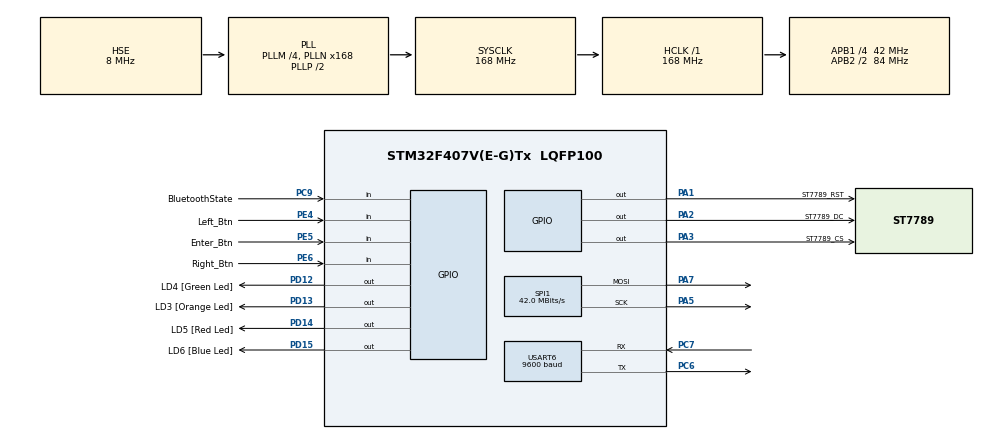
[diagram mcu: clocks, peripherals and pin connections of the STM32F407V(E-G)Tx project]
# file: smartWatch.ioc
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Dma.Request0=SPI1_TX
Dma.SPI1_TX.0.Direction=DMA_MEMORY_TO_PERIPH
Dma.SPI1_TX.0.FIFOMode=DMA_FIFOMODE_DISABLE
Dma.SPI1_TX.0.Instance=DMA2_Stream3
Dma.SPI1_TX.0.MemDataAlignment=DMA_MDATAALIGN_BYTE
Dma.SPI1_TX.0.MemInc=DMA_MINC_ENABLE
Dma.SPI1_TX.0.Mode=DMA_NORMAL
Dma.SPI1_TX.0.PeriphDataAlignment=DMA_PDATAALIGN_BYTE
Dma.SPI1_TX.0.PeriphInc=DMA_PINC_DISABLE
Dma.SPI1_TX.0.Priority=DMA_PRIORITY_LOW
FREERTOS.Tasks01=guiTAsk,47,15360,StartguiTAsk,Default,NULL,Dynamic,NULL,NULL;controllerTask,39,1024,StartcontrollerTask,Default,NULL,Dynamic,NULL,NULL;bluetoothTask,38,2560,StartbluetoothTask,Default,NULL,Dynamic,NULL,NULL;blinkTask,38,128,StartblinkTask,Default,NULL,Dynamic,NULL,NULL
FREERTOS.configTOTAL_HEAP_SIZE=81920
Mcu.Family=STM32F4
Mcu.Name=STM32F407V(E-G)Tx
Mcu.Package=LQFP100
NVIC.DMA2_Stream3_IRQn=true\:5\:0\:false\:false\:true\:true\:false\:true
NVIC.PriorityGroup=NVIC_PRIORITYGROUP_4
NVIC.TIM1_UP_TIM10_IRQn=true\:0\:0\:false\:false\:true\:false\:false\:true
NVIC.TIM2_IRQn=true\:5\:0\:false\:false\:true\:true\:true\:true
NVIC.TIM3_IRQn=true\:5\:0\:false\:false\:true\:true\:true\:true
NVIC.TIM4_IRQn=true\:5\:0\:false\:false\:true\:true\:true\:true
NVIC.TimeBase=TIM1_UP_TIM10_IRQn
NVIC.TimeBaseIP=TIM1
PA1.GPIO_Label=ST7789_RST
PA1.GPIO_Speed=GPIO_SPEED_FREQ_VERY_HIGH
PA1.Signal=GPIO_Output
PA13.Mode=Serial_Wire
PA13.Signal=SYS_JTMS-SWDIO
PA14.Mode=Serial_Wire
PA14.Signal=SYS_JTCK-SWCLK
PA2.GPIO_Label=ST7789_DC
PA2.GPIO_Speed=GPIO_SPEED_FREQ_VERY_HIGH
PA2.Signal=GPIO_Output
PA3.GPIO_Label=ST7789_CS
PA3.GPIO_Speed=GPIO_SPEED_FREQ_VERY_HIGH
PA3.Signal=GPIO_Output
PA5.Mode=TX_Only_Simplex_Unidirect_Master
PA5.Signal=SPI1_SCK
PA7.Mode=TX_Only_Simplex_Unidirect_Master
PA7.Signal=SPI1_MOSI
PC6.Mode=Asynchronous
PC6.Signal=USART6_TX
PC7.Mode=Asynchronous
PC7.Signal=USART6_RX
PC9.GPIO_Label=BluetoothState
PC9.GPIO_PuPd=GPIO_PULLUP
PC9.Signal=GPIO_Input
PD12.GPIO_Label=LD4 [Green Led]
PD12.Signal=GPIO_Output
PD13.GPIO_Label=LD3 [Orange Led]
PD13.Signal=GPIO_Output
PD14.GPIO_Label=LD5 [Red Led]
PD14.Signal=GPIO_Output
PD15.GPIO_Label=LD6 [Blue Led]
PD15.Signal=GPIO_Output
PE4.GPIO_Label=Left_Btn
PE4.GPIO_PuPd=GPIO_PULLUP
PE4.Signal=GPIO_Input
PE5.GPIO_Label=Enter_Btn
PE5.GPIO_PuPd=GPIO_PULLUP
PE5.Signal=GPIO_Input
PE6.GPIO_Label=Right_Btn
PE6.GPIO_PuPd=GPIO_PULLUP
PE6.Signal=GPIO_Input
PH0-OSC_IN.Mode=HSE-External-Oscillator
PH0-OSC_IN.Signal=RCC_OSC_IN
PH1-OSC_OUT.Mode=HSE-External-Oscillator
PH1-OSC_OUT.Signal=RCC_OSC_OUT
ProjectManager.HeapSize=0x200
ProjectManager.StackSize=0x400
ProjectManager.TargetToolchain=STM32CubeIDE
RCC.48MHZClocksFreq_Value=84000000
RCC.AHBFreq_Value=168000000
RCC.APB1CLKDivider=RCC_HCLK_DIV4
RCC.APB1Freq_Value=42000000
RCC.APB1TimFreq_Value=84000000
RCC.APB2CLKDivider=RCC_HCLK_DIV2
RCC.APB2Freq_Value=84000000
RCC.APB2TimFreq_Value=168000000
RCC.CortexFreq_Value=168000000
RCC.HCLKFreq_Value=168000000
RCC.HSE_VALUE=8000000
RCC.HSI_VALUE=16000000
RCC.LSE_VALUE=32768
RCC.PLLM=4
RCC.PLLN=168
RCC.PLLSourceVirtual=RCC_PLLSOURCE_HSE
RCC.RCC_RTC_Clock_Source=RCC_RTCCLKSOURCE_LSI
RCC.RCC_RTC_Clock_SourceVirtual=RCC_RTCCLKSOURCE_LSE
RCC.RCC_RTC_Clock_Source_FROM_HSE=RCC_RTCCLKSOURCE_HSE_DIV25
RCC.SYSCLKFreq_VALUE=168000000
RCC.SYSCLKSource=RCC_SYSCLKSOURCE_PLLCLK
RCC.VCOOutputFreq_Value=336000000
RTC.AsynchPrediv=127
RTC.Format=RTC_FORMAT_BIN
RTC.SynchPrediv=249
SPI1.BaudRatePrescaler=SPI_BAUDRATEPRESCALER_2
SPI1.CLKPhase=SPI_PHASE_2EDGE
SPI1.CLKPolarity=SPI_POLARITY_HIGH
SPI1.CalculateBaudRate=42.0 MBits/s
SPI1.DataSize=SPI_DATASIZE_8BIT
SPI1.Direction=SPI_DIRECTION_2LINES
SPI1.Mode=SPI_MODE_MASTER
SPI1.VirtualType=VM_MASTER
TIM2.Period=1000
TIM2.Prescaler=84
TIM3.Prescaler=84
TIM4.Period=1000
TIM4.Prescaler=84
USART6.BaudRate=9600
USART6.VirtualMode=VM_ASYNC
VP_FREERTOS_VS_CMSIS_V2.Mode=CMSIS_V2
VP_RTC_VS_RTC_Activate.Mode=RTC_Enabled
VP_RTC_VS_RTC_Calendar.Mode=RTC_Calendar
VP_SYS_VS_tim1.Mode=TIM1
VP_TIM2_VS_ClockSourceINT.Mode=Internal
VP_TIM3_VS_ClockSourceINT.Mode=Internal
VP_TIM4_VS_ClockSourceINT.Mode=Internal
board=custom

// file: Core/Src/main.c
/* USER CODE BEGIN Header */
/**
  ******************************************************************************
  * @file           : main.c
  * @brief          : Main program body
  ******************************************************************************
  * @attention
  *
  * <h2><center>&copy; Copyright (c) 2020 STMicroelectronics.
  * All rights reserved.</center></h2>
  *
  * This software component is licensed by ST under BSD 3-Clause license,
  * the "License"; You may not use this file except in compliance with the
  * License. You may obtain a copy of the License at:
  *                        opensource.org/licenses/BSD-3-Clause
  *
  ******************************************************************************
  */
/* USER CODE END Header */
#include "main.h"
#include "cmsis_os.h"

/* USER CODE BEGIN Includes */
#include "tosTft.h"
#include "tOSbaga.h"
/* USER CODE END Includes */

RTC_HandleTypeDef hrtc;

SPI_HandleTypeDef hspi1;
DMA_HandleTypeDef hdma_spi1_tx;

TIM_HandleTypeDef htim2;
TIM_HandleTypeDef htim3;
TIM_HandleTypeDef htim4;

UART_HandleTypeDef huart6;

/* Definitions for guiTAsk */
osThreadId_t guiTAskHandle;
const osThreadAttr_t guiTAsk_attributes = {
  .name = "guiTAsk",
  .priority = (osPriority_t) osPriorityHigh7,
  .stack_size = 15360 * 4
};
/* Definitions for controllerTask */
osThreadId_t controllerTaskHandle;
const osThreadAttr_t controllerTask_attributes = {
  .name = "controllerTask",
  .priority = (osPriority_t) osPriorityAboveNormal7,
  .stack_size = 1024 * 4
};
/* Definitions for bluetoothTask */
osThreadId_t bluetoothTaskHandle;
const osThreadAttr_t bluetoothTask_attributes = {
  .name = "bluetoothTask",
  .priority = (osPriority_t) osPriorityAboveNormal6,
  .stack_size = 2560 * 4
};
/* Definitions for blinkTask */
osThreadId_t blinkTaskHandle;
const osThreadAttr_t blinkTask_attributes = {
  .name = "blinkTask",
  .priority = (osPriority_t) osPriorityAboveNormal6,
  .stack_size = 128 * 4
};
/* USER CODE BEGIN PV */
RTC_TimeTypeDef sTime = {0};
RTC_DateTypeDef sDate = {0};
//RTC_DateTypeDef sDate;
/* USER CODE END PV */

void SystemClock_Config(void);
static void MX_GPIO_Init(void);
static void MX_DMA_Init(void);
static void MX_RTC_Init(void);
static void MX_SPI1_Init(void);
static void MX_TIM4_Init(void);
static void MX_USART6_UART_Init(void);
static void MX_TIM3_Init(void);
static void MX_TIM2_Init(void);
void StartguiTAsk(void *argument);
void StartcontrollerTask(void *argument);
void StartbluetoothTask(void *argument);
void StartblinkTask(void *argument);

int main(void)
{

  /* MCU Configuration--------------------------------------------------------*/

  /* Reset of all peripherals, Initializes the Flash interface and the Systick. */
  HAL_Init();

  /* Configure the system clock */
  SystemClock_Config();

  /* Initialize all configured peripherals */
  MX_GPIO_Init();
  MX_DMA_Init();
  MX_RTC_Init();
  MX_SPI1_Init();
  MX_TIM4_Init();
  MX_USART6_UART_Init();
  MX_TIM3_Init();
  MX_TIM2_Init();
  /* USER CODE BEGIN 2 */
  HAL_GPIO_TogglePin(LD6_GPIO_Port, LD6_Pin);
  //tos_Flash_Init();

	//tos_RTC_init(&hrtc);
  /* USER CODE END 2 */

  /* Init scheduler */
  osKernelInitialize();

  /* Create the thread(s) */
  /* creation of guiTAsk */
  guiTAskHandle = osThreadNew(StartguiTAsk, NULL, &guiTAsk_attributes);

  /* creation of controllerTask */
  controllerTaskHandle = osThreadNew(StartcontrollerTask, NULL, &controllerTask_attributes);

  /* creation of bluetoothTask */
  bluetoothTaskHandle = osThreadNew(StartbluetoothTask, NULL, &bluetoothTask_attributes);

  /* creation of blinkTask */
  blinkTaskHandle = osThreadNew(StartblinkTask, NULL, &blinkTask_attributes);

  /* Start scheduler */
  osKernelStart();

  /* We should never get here as control is now taken by the scheduler */
  /* Infinite loop */
  while (1)
  {

  }
}

void SystemClock_Config(void)
{
  RCC_OscInitTypeDef RCC_OscInitStruct = {0};
  RCC_ClkInitTypeDef RCC_ClkInitStruct = {0};
  RCC_PeriphCLKInitTypeDef PeriphClkInitStruct = {0};

  /** Configure the main internal regulator output voltage
  */
  __HAL_RCC_PWR_CLK_ENABLE();
  __HAL_PWR_VOLTAGESCALING_CONFIG(PWR_REGULATOR_VOLTAGE_SCALE1);
  /** Initializes the RCC Oscillators according to the specified parameters
  * in the RCC_OscInitTypeDef structure.
  */
  RCC_OscInitStruct.OscillatorType = RCC_OSCILLATORTYPE_LSI|RCC_OSCILLATORTYPE_HSE;
  RCC_OscInitStruct.HSEState = RCC_HSE_ON;
  RCC_OscInitStruct.LSIState = RCC_LSI_ON;
  RCC_OscInitStruct.PLL.PLLState = RCC_PLL_ON;
  RCC_OscInitStruct.PLL.PLLSource = RCC_PLLSOURCE_HSE;
  RCC_OscInitStruct.PLL.PLLM = 4;
  RCC_OscInitStruct.PLL.PLLN = 168;
  RCC_OscInitStruct.PLL.PLLP = RCC_PLLP_DIV2;
  RCC_OscInitStruct.PLL.PLLQ = 4;
  if (HAL_RCC_OscConfig(&RCC_OscInitStruct) != HAL_OK)
  {
    Error_Handler();
  }
  /** Initializes the CPU, AHB and APB buses clocks
  */
  RCC_ClkInitStruct.ClockType = RCC_CLOCKTYPE_HCLK|RCC_CLOCKTYPE_SYSCLK
                              |RCC_CLOCKTYPE_PCLK1|RCC_CLOCKTYPE_PCLK2;
  RCC_ClkInitStruct.SYSCLKSource = RCC_SYSCLKSOURCE_PLLCLK;
  RCC_ClkInitStruct.AHBCLKDivider = RCC_SYSCLK_DIV1;
  RCC_ClkInitStruct.APB1CLKDivider = RCC_HCLK_DIV4;
  RCC_ClkInitStruct.APB2CLKDivider = RCC_HCLK_DIV2;

  if (HAL_RCC_ClockConfig(&RCC_ClkInitStruct, FLASH_LATENCY_5) != HAL_OK)
  {
    Error_Handler();
  }
  PeriphClkInitStruct.PeriphClockSelection = RCC_PERIPHCLK_RTC;
  PeriphClkInitStruct.RTCClockSelection = RCC_RTCCLKSOURCE_LSI;
  if (HAL_RCCEx_PeriphCLKConfig(&PeriphClkInitStruct) != HAL_OK)
  {
    Error_Handler();
  }
}

static void MX_RTC_Init(void)
{

  RTC_TimeTypeDef sTime = {0};
  RTC_DateTypeDef sDate = {0};

  /** Initialize RTC Only
  */
  hrtc.Instance = RTC;
  hrtc.Init.HourFormat = RTC_HOURFORMAT_24;
  hrtc.Init.AsynchPrediv = 127;
  hrtc.Init.SynchPrediv = 249;
  hrtc.Init.OutPut = RTC_OUTPUT_DISABLE;
  hrtc.Init.OutPutPolarity = RTC_OUTPUT_POLARITY_HIGH;
  hrtc.Init.OutPutType = RTC_OUTPUT_TYPE_OPENDRAIN;
  if (HAL_RTC_Init(&hrtc) != HAL_OK)
  {
    Error_Handler();
  }

  /** Initialize RTC and set the Time and Date
  */
  sTime.Hours = 0;
  sTime.Minutes = 0;
  sTime.Seconds = 0;
  sTime.DayLightSaving = RTC_DAYLIGHTSAVING_NONE;
  sTime.StoreOperation = RTC_STOREOPERATION_RESET;
  if (HAL_RTC_SetTime(&hrtc, &sTime, RTC_FORMAT_BIN) != HAL_OK)
  {
    Error_Handler();
  }
  sDate.WeekDay = RTC_WEEKDAY_MONDAY;
  sDate.Month = RTC_MONTH_JANUARY;
  sDate.Date = 1;
  sDate.Year = 0;

  if (HAL_RTC_SetDate(&hrtc, &sDate, RTC_FORMAT_BIN) != HAL_OK)
  {
    Error_Handler();
  }

}

static void MX_SPI1_Init(void)
{

  /* SPI1 parameter configuration*/
  hspi1.Instance = SPI1;
  hspi1.Init.Mode = SPI_MODE_MASTER;
  hspi1.Init.Direction = SPI_DIRECTION_2LINES;
  hspi1.Init.DataSize = SPI_DATASIZE_8BIT;
  hspi1.Init.CLKPolarity = SPI_POLARITY_HIGH;
  hspi1.Init.CLKPhase = SPI_PHASE_2EDGE;
  hspi1.Init.NSS = SPI_NSS_SOFT;
  hspi1.Init.BaudRatePrescaler = SPI_BAUDRATEPRESCALER_2;
  hspi1.Init.FirstBit = SPI_FIRSTBIT_MSB;
  hspi1.Init.TIMode = SPI_TIMODE_DISABLE;
  hspi1.Init.CRCCalculation = SPI_CRCCALCULATION_DISABLE;
  hspi1.Init.CRCPolynomial = 10;
  if (HAL_SPI_Init(&hspi1) != HAL_OK)
  {
    Error_Handler();
  }

}

static void MX_TIM2_Init(void)
{

  TIM_ClockConfigTypeDef sClockSourceConfig = {0};
  TIM_MasterConfigTypeDef sMasterConfig = {0};

  htim2.Instance = TIM2;
  htim2.Init.Prescaler = 84;
  htim2.Init.CounterMode = TIM_COUNTERMODE_UP;
  htim2.Init.Period = 1000;
  htim2.Init.ClockDivision = TIM_CLOCKDIVISION_DIV1;
  htim2.Init.AutoReloadPreload = TIM_AUTORELOAD_PRELOAD_DISABLE;
  if (HAL_TIM_Base_Init(&htim2) != HAL_OK)
  {
    Error_Handler();
  }
  sClockSourceConfig.ClockSource = TIM_CLOCKSOURCE_INTERNAL;
  if (HAL_TIM_ConfigClockSource(&htim2, &sClockSourceConfig) != HAL_OK)
  {
    Error_Handler();
  }
  sMasterConfig.MasterOutputTrigger = TIM_TRGO_RESET;
  sMasterConfig.MasterSlaveMode = TIM_MASTERSLAVEMODE_DISABLE;
  if (HAL_TIMEx_MasterConfigSynchronization(&htim2, &sMasterConfig) != HAL_OK)
  {
    Error_Handler();
  }

}

static void MX_TIM3_Init(void)
{

  TIM_ClockConfigTypeDef sClockSourceConfig = {0};
  TIM_MasterConfigTypeDef sMasterConfig = {0};

  htim3.Instance = TIM3;
  htim3.Init.Prescaler = 84;
  htim3.Init.CounterMode = TIM_COUNTERMODE_UP;
  htim3.Init.Period = 65535;
  htim3.Init.ClockDivision = TIM_CLOCKDIVISION_DIV1;
  htim3.Init.AutoReloadPreload = TIM_AUTORELOAD_PRELOAD_DISABLE;
  if (HAL_TIM_Base_Init(&htim3) != HAL_OK)
  {
    Error_Handler();
  }
  sClockSourceConfig.ClockSource = TIM_CLOCKSOURCE_INTERNAL;
  if (HAL_TIM_ConfigClockSource(&htim3, &sClockSourceConfig) != HAL_OK)
  {
    Error_Handler();
  }
  sMasterConfig.MasterOutputTrigger = TIM_TRGO_RESET;
  sMasterConfig.MasterSlaveMode = TIM_MASTERSLAVEMODE_DISABLE;
  if (HAL_TIMEx_MasterConfigSynchronization(&htim3, &sMasterConfig) != HAL_OK)
  {
    Error_Handler();
  }

}

static void MX_TIM4_Init(void)
{

  TIM_ClockConfigTypeDef sClockSourceConfig = {0};
  TIM_MasterConfigTypeDef sMasterConfig = {0};

  htim4.Instance = TIM4;
  htim4.Init.Prescaler = 84;
  htim4.Init.CounterMode = TIM_COUNTERMODE_UP;
  htim4.Init.Period = 1000;
  htim4.Init.ClockDivision = TIM_CLOCKDIVISION_DIV1;
  htim4.Init.AutoReloadPreload = TIM_AUTORELOAD_PRELOAD_DISABLE;
  if (HAL_TIM_Base_Init(&htim4) != HAL_OK)
  {
    Error_Handler();
  }
  sClockSourceConfig.ClockSource = TIM_CLOCKSOURCE_INTERNAL;
  if (HAL_TIM_ConfigClockSource(&htim4, &sClockSourceConfig) != HAL_OK)
  {
    Error_Handler();
  }
  sMasterConfig.MasterOutputTrigger = TIM_TRGO_RESET;
  sMasterConfig.MasterSlaveMode = TIM_MASTERSLAVEMODE_DISABLE;
  if (HAL_TIMEx_MasterConfigSynchronization(&htim4, &sMasterConfig) != HAL_OK)
  {
    Error_Handler();
  }

}

static void MX_USART6_UART_Init(void)
{

  huart6.Instance = USART6;
  huart6.Init.BaudRate = 9600;
  huart6.Init.WordLength = UART_WORDLENGTH_8B;
  huart6.Init.StopBits = UART_STOPBITS_1;
  huart6.Init.Parity = UART_PARITY_NONE;
  huart6.Init.Mode = UART_MODE_TX_RX;
  huart6.Init.HwFlowCtl = UART_HWCONTROL_NONE;
  huart6.Init.OverSampling = UART_OVERSAMPLING_16;
  if (HAL_UART_Init(&huart6) != HAL_OK)
  {
    Error_Handler();
  }

}

static void MX_DMA_Init(void)
{

  /* DMA controller clock enable */
  __HAL_RCC_DMA2_CLK_ENABLE();

  /* DMA interrupt init */
  /* DMA2_Stream3_IRQn interrupt configuration */
  HAL_NVIC_SetPriority(DMA2_Stream3_IRQn, 5, 0);
  HAL_NVIC_EnableIRQ(DMA2_Stream3_IRQn);

}

static void MX_GPIO_Init(void)
{
  GPIO_InitTypeDef GPIO_InitStruct = {0};

  /* GPIO Ports Clock Enable */
  __HAL_RCC_GPIOE_CLK_ENABLE();
  __HAL_RCC_GPIOH_CLK_ENABLE();
  __HAL_RCC_GPIOA_CLK_ENABLE();
  __HAL_RCC_GPIOD_CLK_ENABLE();
  __HAL_RCC_GPIOC_CLK_ENABLE();

  /*Configure GPIO pin Output Level */
  HAL_GPIO_WritePin(GPIOA, ST7789_RST_Pin|ST7789_DC_Pin|ST7789_CS_Pin, GPIO_PIN_RESET);

  /*Configure GPIO pin Output Level */
  HAL_GPIO_WritePin(GPIOD, LD4_Pin|LD3_Pin|LD5_Pin|LD6_Pin, GPIO_PIN_RESET);

  /*Configure GPIO pins : Left_Btn_Pin Enter_Btn_Pin Right_Btn_Pin */
  GPIO_InitStruct.Pin = Left_Btn_Pin|Enter_Btn_Pin|Right_Btn_Pin;
  GPIO_InitStruct.Mode = GPIO_MODE_INPUT;
  GPIO_InitStruct.Pull = GPIO_PULLUP;
  HAL_GPIO_Init(GPIOE, &GPIO_InitStruct);

  /*Configure GPIO pins : ST7789_RST_Pin ST7789_DC_Pin ST7789_CS_Pin */
  GPIO_InitStruct.Pin = ST7789_RST_Pin|ST7789_DC_Pin|ST7789_CS_Pin;
  GPIO_InitStruct.Mode = GPIO_MODE_OUTPUT_PP;
  GPIO_InitStruct.Pull = GPIO_NOPULL;
  GPIO_InitStruct.Speed = GPIO_SPEED_FREQ_VERY_HIGH;
  HAL_GPIO_Init(GPIOA, &GPIO_InitStruct);

  /*Configure GPIO pins : LD4_Pin LD3_Pin LD5_Pin LD6_Pin */
  GPIO_InitStruct.Pin = LD4_Pin|LD3_Pin|LD5_Pin|LD6_Pin;
  GPIO_InitStruct.Mode = GPIO_MODE_OUTPUT_PP;
  GPIO_InitStruct.Pull = GPIO_NOPULL;
  GPIO_InitStruct.Speed = GPIO_SPEED_FREQ_LOW;
  HAL_GPIO_Init(GPIOD, &GPIO_InitStruct);

  /*Configure GPIO pin : BluetoothState_Pin */
  GPIO_InitStruct.Pin = BluetoothState_Pin;
  GPIO_InitStruct.Mode = GPIO_MODE_INPUT;
  GPIO_InitStruct.Pull = GPIO_PULLUP;
  HAL_GPIO_Init(BluetoothState_GPIO_Port, &GPIO_InitStruct);

}

void StartguiTAsk(void *argument)
{
  /* USER CODE BEGIN 5 */
	tos_Tft_init();
	tos_Get_Rtc(&hrtc);
	tos_Screen_Init();
	ST7789_UnSelect();
	/* Infinite loop */
	for(;;)
	{
	  lv_task_handler();
	  lv_tick_inc(1);
	  osDelay(1);
	}
  /* USER CODE END 5 */
}

void StartcontrollerTask(void *argument)
{
  /* USER CODE BEGIN StartcontrollerTask */
	/* Infinite loop */
	for(;;)
	{
	  tos_Screen_Variables_Getter(tos_Get_Current_Screen());
	  tos_ScreenController();
	  osDelay(5);
	}
  /* USER CODE END StartcontrollerTask */
}

void StartbluetoothTask(void *argument)
{
  /* USER CODE BEGIN StartbluetoothTask */
	tos_Bluetooth_NotificationItemInit();
	/* Infinite loop */
	for(;;)
	{
		tos_BluetoothReceiverAndTransmitter(&hrtc);
		tos_BluetoothGetStatusVAl(tos_BluetoothGetEnableVal(),tos_Get_Current_Screen());
		osDelay(1);
	}
  /* USER CODE END StartbluetoothTask */
}

void StartblinkTask(void *argument)
{
  /* USER CODE BEGIN StartblinkTask */
	/* Infinite loop */
	for(;;)
	{
		HAL_GPIO_TogglePin(LD6_GPIO_Port, LD6_Pin);
		osDelay(500);
	}
  /* USER CODE END StartblinkTask */
}

 /**
  * @brief  Period elapsed callback in non blocking mode
  * @note   This function is called  when TIM1 interrupt took place, inside
  * HAL_TIM_IRQHandler(). It makes a direct call to HAL_IncTick() to increment
  * a global variable "uwTick" used as application time base.
  * @param  htim : TIM handle
  * @retval None
  */
void HAL_TIM_PeriodElapsedCallback(TIM_HandleTypeDef *htim)
{
  if (htim->Instance == TIM1) {
    HAL_IncTick();
  }
}

void Error_Handler(void)
{
  __disable_irq();
  while (1)
  {
  }
}

/************************ (C) COPYRIGHT STMicroelectronics *****END OF FILE****/
